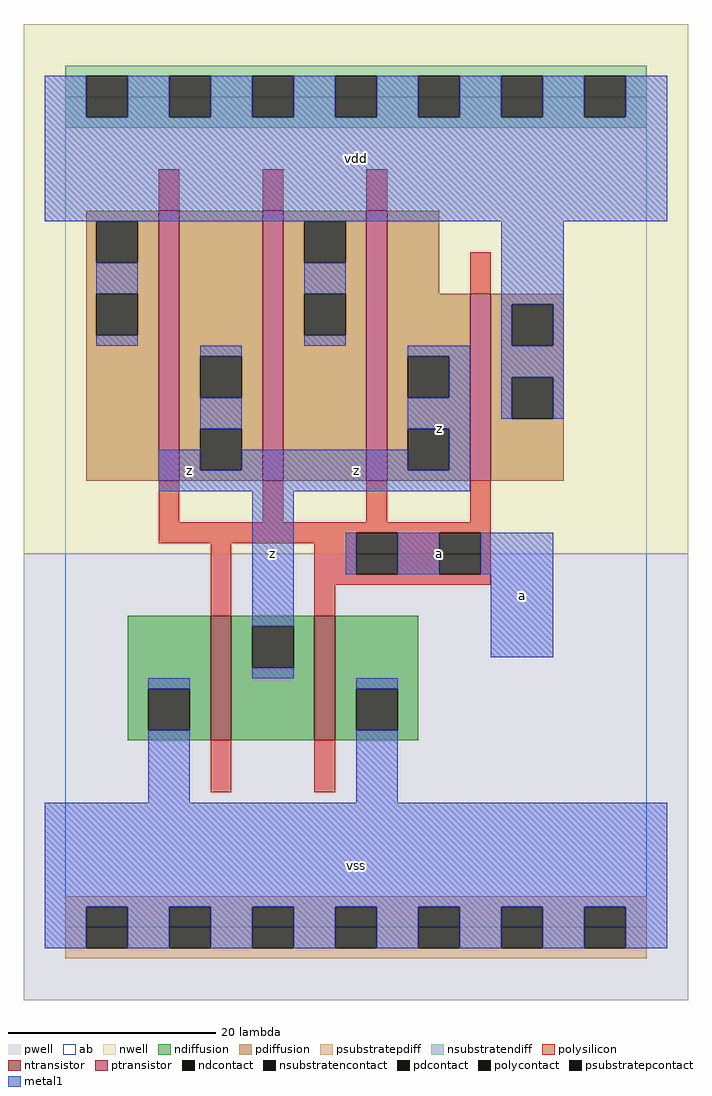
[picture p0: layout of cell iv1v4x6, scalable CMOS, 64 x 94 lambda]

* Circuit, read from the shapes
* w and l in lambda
.subckt iv1v4x6 a vdd vss z
M1 z a vss vss nfet w=12 l=2 m=2
M2 z a vdd vdd pfet w=26 l=2 m=3
M3 vdd a z vdd pfet w=18 l=2
.ends

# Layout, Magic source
magic
tech scmos
<< ab >>
rect 0 0 56 80
<< pwell >>
rect -4 -7 60 36
<< nwell >>
rect -4 36 60 87
<< polysilicon >>
rect 9 69 11 73
rect 19 69 21 73
rect 29 69 31 73
rect 39 61 41 65
rect 9 39 11 43
rect 19 39 21 43
rect 29 39 31 43
rect 39 39 41 43
rect 9 38 41 39
rect 9 37 28 38
rect 14 30 16 37
rect 24 34 28 37
rect 32 34 36 38
rect 40 34 41 38
rect 24 33 41 34
rect 24 30 26 33
rect 14 13 16 18
rect 24 13 26 18
<< ndiffusion >>
rect 6 23 14 30
rect 6 19 8 23
rect 12 19 14 23
rect 6 18 14 19
rect 16 29 24 30
rect 16 25 18 29
rect 22 25 24 29
rect 16 18 24 25
rect 26 23 34 30
rect 26 19 28 23
rect 32 19 34 23
rect 26 18 34 19
<< pdiffusion >>
rect 2 68 9 69
rect 2 64 3 68
rect 7 64 9 68
rect 2 61 9 64
rect 2 57 3 61
rect 7 57 9 61
rect 2 43 9 57
rect 11 55 19 69
rect 11 51 13 55
rect 17 51 19 55
rect 11 48 19 51
rect 11 44 13 48
rect 17 44 19 48
rect 11 43 19 44
rect 21 68 29 69
rect 21 64 23 68
rect 27 64 29 68
rect 21 61 29 64
rect 21 57 23 61
rect 27 57 29 61
rect 21 43 29 57
rect 31 61 36 69
rect 31 55 39 61
rect 31 51 33 55
rect 37 51 39 55
rect 31 48 39 51
rect 31 44 33 48
rect 37 44 39 48
rect 31 43 39 44
rect 41 60 48 61
rect 41 56 43 60
rect 47 56 48 60
rect 41 53 48 56
rect 41 49 43 53
rect 47 49 48 53
rect 41 43 48 49
<< metal1 >>
rect -2 78 2 82
rect 6 78 10 82
rect 14 78 18 82
rect 22 78 26 82
rect 30 78 34 82
rect 38 78 42 82
rect 46 78 50 82
rect 54 78 58 82
rect -2 68 58 78
rect 3 61 7 64
rect 3 56 7 57
rect 23 61 27 64
rect 23 56 27 57
rect 42 60 48 68
rect 42 56 43 60
rect 47 56 48 60
rect 13 55 17 56
rect 13 48 17 51
rect 9 44 13 46
rect 33 55 39 56
rect 37 51 39 55
rect 33 48 39 51
rect 42 53 48 56
rect 42 49 43 53
rect 47 49 48 53
rect 17 44 33 46
rect 37 44 39 48
rect 9 42 39 44
rect 18 29 22 42
rect 27 34 28 38
rect 32 34 36 38
rect 40 34 47 38
rect 41 26 47 34
rect 18 24 22 25
rect 8 23 12 24
rect 8 12 12 19
rect 28 23 32 24
rect 28 12 32 19
rect -2 2 58 12
rect -2 -2 2 2
rect 6 -2 10 2
rect 14 -2 18 2
rect 22 -2 26 2
rect 30 -2 34 2
rect 38 -2 42 2
rect 46 -2 50 2
rect 54 -2 58 2
<< ntransistor >>
rect 14 18 16 30
rect 24 18 26 30
<< ptransistor >>
rect 9 43 11 69
rect 19 43 21 69
rect 29 43 31 69
rect 39 43 41 61
<< polycontact >>
rect 28 34 32 38
rect 36 34 40 38
<< ndcontact >>
rect 8 19 12 23
rect 18 25 22 29
rect 28 19 32 23
<< pdcontact >>
rect 3 64 7 68
rect 3 57 7 61
rect 13 51 17 55
rect 13 44 17 48
rect 23 64 27 68
rect 23 57 27 61
rect 33 51 37 55
rect 33 44 37 48
rect 43 56 47 60
rect 43 49 47 53
<< psubstratepcontact >>
rect 2 -2 6 2
rect 10 -2 14 2
rect 18 -2 22 2
rect 26 -2 30 2
rect 34 -2 38 2
rect 42 -2 46 2
rect 50 -2 54 2
<< nsubstratencontact >>
rect 2 78 6 82
rect 10 78 14 82
rect 18 78 22 82
rect 26 78 30 82
rect 34 78 38 82
rect 42 78 46 82
rect 50 78 54 82
<< psubstratepdiff >>
rect 0 2 56 3
rect 0 -2 2 2
rect 6 -2 10 2
rect 14 -2 18 2
rect 22 -2 26 2
rect 30 -2 34 2
rect 38 -2 42 2
rect 46 -2 50 2
rect 54 -2 56 2
rect 0 -3 56 -2
<< nsubstratendiff >>
rect 0 82 56 83
rect 0 78 2 82
rect 6 78 10 82
rect 14 78 18 82
rect 22 78 26 82
rect 30 78 34 82
rect 38 78 42 82
rect 46 78 50 82
rect 54 78 56 82
rect 0 77 56 78
<< labels >>
rlabel metal1 20 36 20 36 6 z
rlabel metal1 12 44 12 44 6 z
rlabel metal1 28 6 28 6 6 vss
rlabel metal1 36 36 36 36 6 a
rlabel metal1 28 44 28 44 6 z
rlabel metal1 36 48 36 48 6 z
rlabel metal1 28 74 28 74 6 vdd
rlabel metal1 44 32 44 32 6 a
<< end >>
